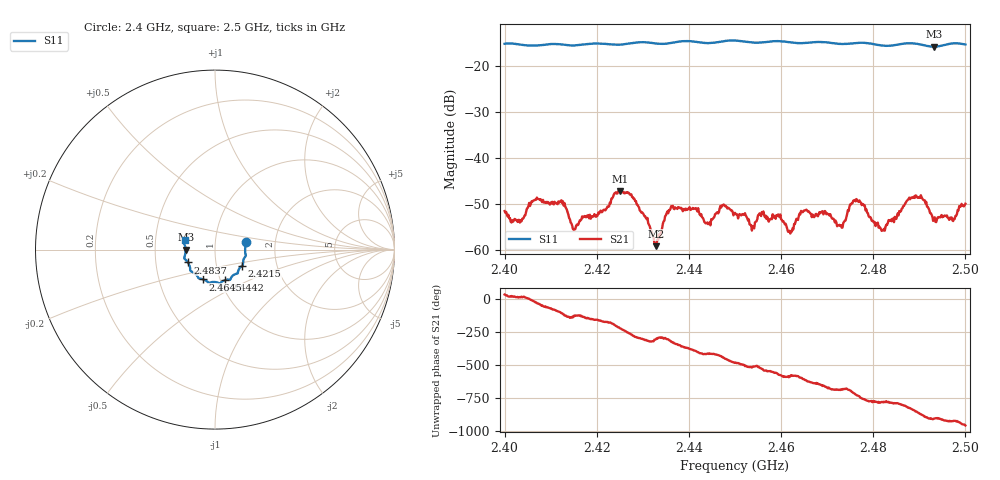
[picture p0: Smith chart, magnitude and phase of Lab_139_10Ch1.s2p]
# Hz S RI R 50
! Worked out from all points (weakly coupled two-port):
!   601 points, 2.4 GHz to 2.5 GHz, reference 50 ohm
!   highest |S21| = -47.26 dB at 2.425 GHz (marker M1); lowest = -59.2 dB at 2.4328 GHz (marker M2)
!   lowest |S11| = -15.7 dB at 2.4932 GHz (marker M3), VSWR 1.39, Z = 35.9 - j0.0436 ohm
!   |S11| at or under -10 dB: start of sweep to end of sweep
!   S12 and S22 are empty: the file has one direction only
!   S11 on the Smith chart (normalised r, x): 2.4 GHz: 1.41, +0.12; 2.4215 GHz: 1.33, -0.25; 2.4442 GHz: 1.05, -0.37; 2.4645 GHz: 0.83, -0.29; 2.4837 GHz: 0.73, -0.11; 2.5 GHz: 0.71, +0.07
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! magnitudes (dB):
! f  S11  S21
! 2.4 GHz  -15.1  -51.6
! 2.4033 GHz  -15.3  -54.1
! 2.4073 GHz  -15.5  -48.9
! 2.4167 GHz  -15.3  -53.4
! 2.4215 GHz  -15.1  -51.3
! 2.425 GHz  -15.3  -47.3
! 2.428 GHz  -14.9  -48.9
! 2.4328 GHz  -15.0  -59.2
! 2.4333 GHz  -15.1  -57.8
! 2.4365 GHz  -14.9  -50.4
! 2.4442 GHz  -15.0  -54.4
! 2.45 GHz  -14.4  -52.0
! 2.4618 GHz  -14.8  -55.9
! 2.4645 GHz  -15.0  -51.7
! 2.4667 GHz  -14.8  -52.9
! 2.4728 GHz  -15.1  -54.8
! 2.4762 GHz  -15.0  -49.5
! 2.4833 GHz  -15.6  -53.5
! 2.4837 GHz  -15.5  -53.7
! 2.4893 GHz  -15.1  -48.2
! 2.4932 GHz  -15.7  -53.2
! 2.5 GHz  -15.3  -50.0
